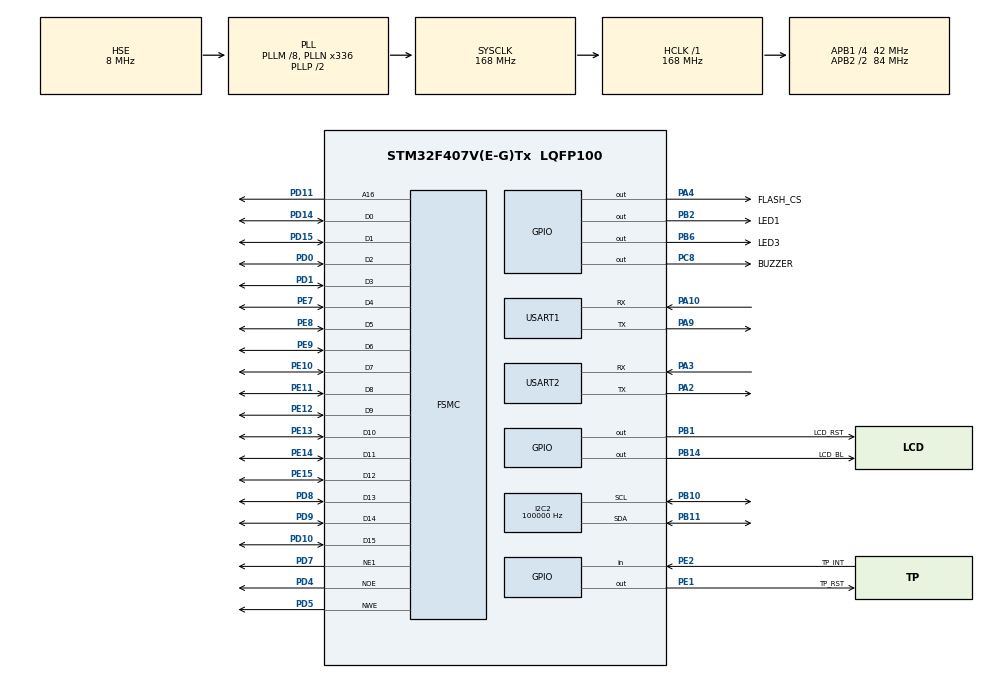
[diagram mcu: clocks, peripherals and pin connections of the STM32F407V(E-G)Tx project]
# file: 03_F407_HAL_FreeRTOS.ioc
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Dma.Request0=USART2_RX
Dma.Request1=USART2_TX
Dma.USART2_RX.0.Direction=DMA_PERIPH_TO_MEMORY
Dma.USART2_RX.0.FIFOMode=DMA_FIFOMODE_DISABLE
Dma.USART2_RX.0.Instance=DMA1_Stream5
Dma.USART2_RX.0.MemDataAlignment=DMA_MDATAALIGN_BYTE
Dma.USART2_RX.0.MemInc=DMA_MINC_ENABLE
Dma.USART2_RX.0.Mode=DMA_CIRCULAR
Dma.USART2_RX.0.PeriphDataAlignment=DMA_PDATAALIGN_BYTE
Dma.USART2_RX.0.PeriphInc=DMA_PINC_DISABLE
Dma.USART2_RX.0.Priority=DMA_PRIORITY_LOW
Dma.USART2_TX.1.Direction=DMA_MEMORY_TO_PERIPH
Dma.USART2_TX.1.FIFOMode=DMA_FIFOMODE_DISABLE
Dma.USART2_TX.1.Instance=DMA1_Stream6
Dma.USART2_TX.1.MemDataAlignment=DMA_MDATAALIGN_BYTE
Dma.USART2_TX.1.MemInc=DMA_MINC_ENABLE
Dma.USART2_TX.1.Mode=DMA_NORMAL
Dma.USART2_TX.1.PeriphDataAlignment=DMA_PDATAALIGN_BYTE
Dma.USART2_TX.1.PeriphInc=DMA_PINC_DISABLE
Dma.USART2_TX.1.Priority=DMA_PRIORITY_LOW
FSMC.AddressSetupTime1=5
FSMC.BusTurnAroundDuration1=5
FSMC.DataSetupTime1=15
I2C2.ClockSpeed=100000
Mcu.Family=STM32F4
Mcu.Name=STM32F407V(E-G)Tx
Mcu.Package=LQFP100
NVIC.DMA1_Stream5_IRQn=true\:6\:0\:true\:false\:true\:false\:true\:true
NVIC.DMA1_Stream6_IRQn=true\:6\:0\:true\:false\:true\:false\:true\:true
NVIC.PriorityGroup=NVIC_PRIORITYGROUP_4
NVIC.TIM6_DAC_IRQn=true\:15\:0\:false\:false\:true\:false\:true\:true
NVIC.TimeBase=TIM6_DAC_IRQn
NVIC.TimeBaseIP=TIM6
NVIC.USART2_IRQn=true\:6\:0\:true\:false\:true\:true\:true\:true
PA10.Mode=Asynchronous
PA10.Signal=USART1_RX
PA13.Mode=Serial_Wire
PA13.Signal=SYS_JTMS-SWDIO
PA14.Mode=Serial_Wire
PA14.Signal=SYS_JTCK-SWCLK
PA2.Mode=Asynchronous
PA2.Signal=USART2_TX
PA3.Mode=Asynchronous
PA3.Signal=USART2_RX
PA4.GPIO_Label=FLASH_CS
PA4.PinState=GPIO_PIN_SET
PA4.Signal=GPIO_Output
PA9.Mode=Asynchronous
PA9.Signal=USART1_TX
PB1.GPIO_Label=LCD_RST
PB1.PinState=GPIO_PIN_SET
PB1.Signal=GPIO_Output
PB10.Mode=I2C
PB10.Signal=I2C2_SCL
PB11.Mode=I2C
PB11.Signal=I2C2_SDA
PB14.GPIO_Label=LCD_BL
PB14.Signal=GPIO_Output
PB2.GPIO_Label=LED1
PB2.Signal=GPIO_Output
PB6.GPIO_Label=LED3
PB6.Signal=GPIO_Output
PC8.GPIO_Label=BUZZER
PC8.PinState=GPIO_PIN_SET
PC8.Signal=GPIO_Output
PD0.Mode=16b-d1
PD0.Signal=FSMC_D2
PD1.Mode=16b-d1
PD1.Signal=FSMC_D3
PD10.Mode=16b-d1
PD10.Signal=FSMC_D15
PD11.Mode=A16_1
PD11.Signal=FSMC_A16
PD14.Mode=16b-d1
PD14.Signal=FSMC_D0
PD15.Mode=16b-d1
PD15.Signal=FSMC_D1
PD4.Mode=Lcd1
PD4.Signal=FSMC_NOE
PD5.Mode=Lcd1
PD5.Signal=FSMC_NWE
PD7.Mode=NorPsramChipSelect1_1
PD7.Signal=FSMC_NE1
PD8.Mode=16b-d1
PD8.Signal=FSMC_D13
PD9.Mode=16b-d1
PD9.Signal=FSMC_D14
PE1.GPIO_Label=TP_RST
PE1.PinState=GPIO_PIN_RESET
PE1.Signal=GPIO_Output
PE10.Mode=16b-d1
PE10.Signal=FSMC_D7
PE11.Mode=16b-d1
PE11.Signal=FSMC_D8
PE12.Mode=16b-d1
PE12.Signal=FSMC_D9
PE13.Mode=16b-d1
PE13.Signal=FSMC_D10
PE14.Mode=16b-d1
PE14.Signal=FSMC_D11
PE15.Mode=16b-d1
PE15.Signal=FSMC_D12
PE2.GPIO_Label=TP_INT
PE2.GPIO_PuPd=GPIO_NOPULL
PE2.Signal=GPIO_Input
PE7.Mode=16b-d1
PE7.Signal=FSMC_D4
PE8.Mode=16b-d1
PE8.Signal=FSMC_D5
PE9.Mode=16b-d1
PE9.Signal=FSMC_D6
PH0-OSC_IN.Mode=HSE-External-Oscillator
PH0-OSC_IN.Signal=RCC_OSC_IN
PH1-OSC_OUT.Mode=HSE-External-Oscillator
PH1-OSC_OUT.Signal=RCC_OSC_OUT
ProjectManager.HeapSize=0x200
ProjectManager.StackSize=0x400
ProjectManager.TargetToolchain=CMake
RCC.48MHZClocksFreq_Value=84000000
RCC.AHBFreq_Value=168000000
RCC.APB1CLKDivider=RCC_HCLK_DIV4
RCC.APB1Freq_Value=42000000
RCC.APB1TimFreq_Value=84000000
RCC.APB2CLKDivider=RCC_HCLK_DIV2
RCC.APB2Freq_Value=84000000
RCC.APB2TimFreq_Value=168000000
RCC.CortexFreq_Value=168000000
RCC.HCLKFreq_Value=168000000
RCC.HSE_VALUE=8000000
RCC.HSI_VALUE=16000000
RCC.LSE_VALUE=32768
RCC.PLLM=8
RCC.PLLN=336
RCC.PLLSourceVirtual=RCC_PLLSOURCE_HSE
RCC.SYSCLKFreq_VALUE=168000000
RCC.SYSCLKSource=RCC_SYSCLKSOURCE_PLLCLK
RCC.VCOOutputFreq_Value=336000000
USART1.VirtualMode=VM_ASYNC
USART2.VirtualMode=VM_ASYNC
VP_SYS_VS_tim6.Mode=TIM6
board=custom

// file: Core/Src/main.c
/* USER CODE BEGIN Header */
/**
  ******************************************************************************
  * @file           : main.c
  * @brief          : Main program body
  ******************************************************************************
  * @attention
  *
  * Copyright (c) 2026 STMicroelectronics.
  * All rights reserved.
  *
  * This software is licensed under terms that can be found in the LICENSE file
  * in the root directory of this software component.
  * If no LICENSE file comes with this software, it is provided AS-IS.
  *
  ******************************************************************************
  */
/* USER CODE END Header */
#include "main.h"
#include "dma.h"
#include "i2c.h"
#include "usart.h"
#include "gpio.h"
#include "fsmc.h"

/* USER CODE BEGIN Includes */
#include "FreeRTOS.h"
#include "task.h"
#include "semphr.h"
#include "timers.h"
#include "OLED_Task.h"
#include "Buzzer_Task.h"
#include "GUI_Task.h"
#include "Camera_Task.h" /* 相机任务通过USART2接收MaixCAM2数据，与GUI任务分别负责各自业务。 */
#include "Camera_Network.h" /* 静态请求/状态队列在任务启动前统一准备。 */
#include "I2C2_Bus.h" /* OLED和触摸共用I2C2，启动任务前创建统一的总线锁。 */
/* USER CODE END Includes */

/* USER CODE BEGIN PTD */
typedef struct
{
  GPIO_TypeDef *LED_GPIOx;
  uint16_t LED_Pin;
  uint32_t Period;

}LEDBlinkInfo_TypeDef;
/* USER CODE END PTD */

/* USER CODE BEGIN PV */
/*
static const LEDBlinkInfo_TypeDef LED1BlinkInfo =
{
  .LED_GPIOx = LED1_GPIO_Port,
  .LED_Pin = LED1_Pin,
  .Period = 1000
};

static const LEDBlinkInfo_TypeDef LED3BlinkInfo =
{
  .LED_GPIOx = LED3_GPIO_Port,
  .LED_Pin = LED3_Pin,
  .Period = 300
};
*/
static SemaphoreHandle_t xOledSemaphore;
static volatile uint8_t g_oledReady;
static volatile uint32_t g_oledError;

TimerHandle_t xTimerForLED1;
/* USER CODE END PV */

void SystemClock_Config(void);

/* USER CODE BEGIN 0 */
/*
static void prvLEDTask(void *pvParameters)
{
  LEDBlinkInfo_TypeDef *pxLEDInfo = (LEDBlinkInfo_TypeDef *)pvParameters;

  for(;;)
  {
    HAL_GPIO_WritePin(pxLEDInfo->LED_GPIOx, pxLEDInfo->LED_Pin, GPIO_PIN_SET);
    vTaskDelay(pdMS_TO_TICKS(pxLEDInfo->Period / 2));
    HAL_GPIO_WritePin(pxLEDInfo->LED_GPIOx, pxLEDInfo->LED_Pin, GPIO_PIN_RESET);
    vTaskDelay(pdMS_TO_TICKS(pxLEDInfo->Period / 2));
  }
}
*/
static void LED1TimerCallback(TimerHandle_t xTimer)
{
  HAL_GPIO_TogglePin(LED1_GPIO_Port, LED1_Pin);
}

/* USER CODE END 0 */

int main(void)
{

  /* MCU Configuration--------------------------------------------------------*/

  /* Reset of all peripherals, Initializes the Flash interface and the Systick. */
  HAL_Init();

  /* Configure the system clock */
  SystemClock_Config();

  /* Initialize all configured peripherals */
  MX_GPIO_Init();
  MX_DMA_Init();
  MX_USART1_UART_Init();
  MX_I2C2_Init();
  MX_USART2_UART_Init();
  MX_FSMC_Init();
  /* USER CODE BEGIN 2 */
  /* 先完成OLED启动探测、HAL_Delay和刷新，再创建FreeRTOS对象。
   * 本工程在调度前创建锁会保持BASEPRI中断屏蔽，使TIM6毫秒计时停止；
   * 此时再调用HAL_Delay就等不到计时增长。启动前只有main访问I2C，不需互斥。 */
  g_oledReady = OLED_IsConnected();

  if (g_oledReady != 0U)
  {
      OLED_Init();

      OLED_ShowString(0, 0, "OLED OK", OLED_8X16);
      OLED_ShowString(0, 18, "I2C2 PB10/PB11", OLED_6X8);
      OLED_ShowString(0, 30, "STM32F407", OLED_8X16);

      OLED_Update();
  }
  else
  {
      g_oledError = OLED_GetI2CLastError();
  }

  /* OLED所有HAL启动操作已经结束，现在才创建共用总线锁。
   * 调度器启动后OLED任务与GUI触摸读取必须取得同一把锁，不能并发操作I2C2。 */
  if (!I2C2_Bus_Init()) Error_Handler();
  xOledSemaphore = xSemaphoreCreateBinary();

  xTimerForLED1 = xTimerCreate("LED1Timer", pdMS_TO_TICKS(500), pdTRUE, NULL, LED1TimerCallback);
  xTimerStart(xTimerForLED1, portMAX_DELAY);
  if(!GUI_TaskPrepare()) Error_Handler();
  if(!Camera_NetworkPrepare()) Error_Handler();
  //xTaskCreate(prvLEDTask, "LED1", 128, (void *)&LED1BlinkInfo, 1, NULL);
  //xTaskCreate(prvLEDTask, "LED3", 128, (void *)&LED3BlinkInfo, 1, NULL);
  /* OLED共享总线出错时还要执行有限恢复，任务栈使用头文件注明的字数。 */
  xTaskCreate(vOLED_Task, "OLED", OLED_TASK_STACK_WORDS, NULL, 1, NULL);
  xTaskCreate(vBuzzer_Task, "Buzzer", 128, NULL, 1, NULL);
  if(xTaskCreate(vGUI_Task, "GUI", GUI_TASK_STACK_WORDS, NULL, 2, NULL) != pdPASS)
      Error_Handler();
  /* 相机任务与按键同为优先级3；无数据时阻塞休眠，不占住GUI的执行时间。
   * DMA接收由任务启动后初始化，main这里只创建任务并检查创建结果。 */
  if(xTaskCreate(vCamera_Task, "Camera", CAMERA_TASK_STACK_WORDS, NULL, 3, NULL) != pdPASS)
      Error_Handler();
  vTaskStartScheduler();
  /* USER CODE END 2 */

  /* Infinite loop */
  while (1)
  {

  }
}

void SystemClock_Config(void)
{
  RCC_OscInitTypeDef RCC_OscInitStruct = {0};
  RCC_ClkInitTypeDef RCC_ClkInitStruct = {0};

  /** Configure the main internal regulator output voltage
  */
  __HAL_RCC_PWR_CLK_ENABLE();
  __HAL_PWR_VOLTAGESCALING_CONFIG(PWR_REGULATOR_VOLTAGE_SCALE1);

  /** Initializes the RCC Oscillators according to the specified parameters
  * in the RCC_OscInitTypeDef structure.
  */
  RCC_OscInitStruct.OscillatorType = RCC_OSCILLATORTYPE_HSE;
  RCC_OscInitStruct.HSEState = RCC_HSE_ON;
  RCC_OscInitStruct.PLL.PLLState = RCC_PLL_ON;
  RCC_OscInitStruct.PLL.PLLSource = RCC_PLLSOURCE_HSE;
  RCC_OscInitStruct.PLL.PLLM = 8;
  RCC_OscInitStruct.PLL.PLLN = 336;
  RCC_OscInitStruct.PLL.PLLP = RCC_PLLP_DIV2;
  RCC_OscInitStruct.PLL.PLLQ = 4;
  if (HAL_RCC_OscConfig(&RCC_OscInitStruct) != HAL_OK)
  {
    Error_Handler();
  }

  /** Initializes the CPU, AHB and APB buses clocks
  */
  RCC_ClkInitStruct.ClockType = RCC_CLOCKTYPE_HCLK|RCC_CLOCKTYPE_SYSCLK
                              |RCC_CLOCKTYPE_PCLK1|RCC_CLOCKTYPE_PCLK2;
  RCC_ClkInitStruct.SYSCLKSource = RCC_SYSCLKSOURCE_PLLCLK;
  RCC_ClkInitStruct.AHBCLKDivider = RCC_SYSCLK_DIV1;
  RCC_ClkInitStruct.APB1CLKDivider = RCC_HCLK_DIV4;
  RCC_ClkInitStruct.APB2CLKDivider = RCC_HCLK_DIV2;

  if (HAL_RCC_ClockConfig(&RCC_ClkInitStruct, FLASH_LATENCY_5) != HAL_OK)
  {
    Error_Handler();
  }
}

/* USER CODE BEGIN 4 */
void vApplicationStackOverflowHook(TaskHandle_t xTask, char *pcTaskName)
{
  (void)xTask;
  (void)pcTaskName;

  taskDISABLE_INTERRUPTS();
  while (1)
  {
  }
}
/* USER CODE END 4 */

void HAL_TIM_PeriodElapsedCallback(TIM_HandleTypeDef *htim)
{
  if (htim->Instance == TIM6)
  {
    HAL_IncTick();
  }
}

void Error_Handler(void)
{
  __disable_irq();
  while (1)
  {
  }
}
